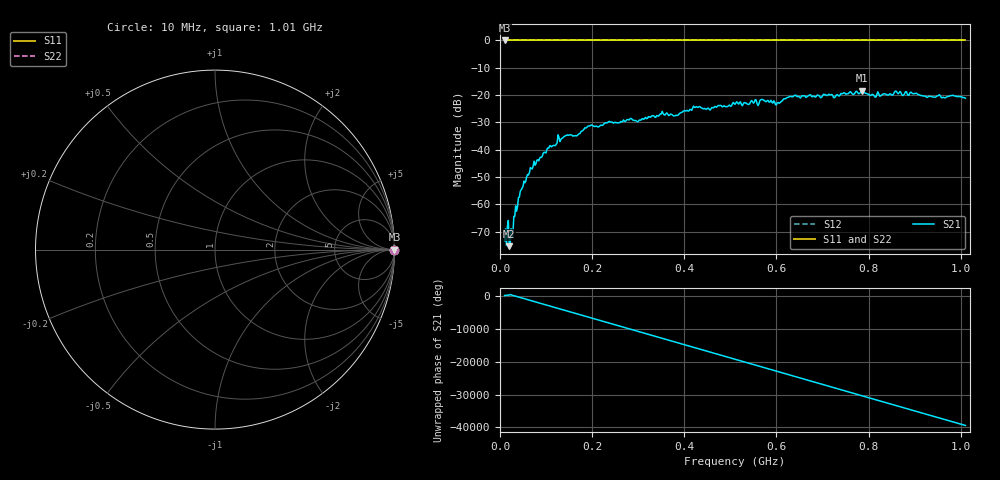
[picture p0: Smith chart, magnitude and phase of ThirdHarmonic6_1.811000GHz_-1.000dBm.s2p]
! 8/16/2025 9:56:25 PM
! C:\ANRITSUVNA\TEMP\TEMP.S2P
! CHANNEL.1
! TR.MEASUREMENT
! RAW.DATA
! RF.CORRECTION.OFF
! AVERAGING.OFF
! IF.BANDWIDTH: 5KHZ
! SWEEPTYPE:  FREQ.SWEEP(Linear)
! Reference Plane Port Info
! PORT:  PORT1  PORT2
! DISTANCE:  0  m  0  m
! TIME:  0  s  0  s
! PHASE.OFFSET:  0  deg.  0  deg.
! LOSS:  0  dB  0  dB
! REF.LOSS:  0  dB  0  dB
! REF.FREQ:  0  Hz  0  Hz
! Power Info
! POWER:  -20  dBm  -20  dBm
! EFF.POWER:  -20  dBm  -20  dBm
! SOURCE.ATTEN:  0  dB  0  dB
! TEST.ATTEN:  0  dB  0  dB
# GHZ S RI R 50.0
! FREQ.GHZ  S11RE  S11IM  S21RE  S21IM  S12RE  S12IM  S22RE  S22IM
!; PortSelection: Port_12
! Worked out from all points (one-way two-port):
!   501 points, 10 MHz to 1.01 GHz, reference 50 ohm
!   highest |S21| = -18.42 dB at 786 MHz (marker M1); lowest = -75.3 dB at 20 MHz (marker M2)
!   lowest |S11| = 0.0 dB at 10 MHz (marker M3)
!   |S11| at or under -10 dB: nowhere
!   |S22| runs from 0.0 to 0.0 dB; largest |S21 - S12| = 1.1
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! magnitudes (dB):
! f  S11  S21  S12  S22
! 10 MHz  0.0  -73.3  0.0  0.0
! 14 MHz  0.0  -75.0  0.0  0.0
! 18 MHz  0.0  -65.9  0.0  0.0
! 20 MHz  0.0  -75.3  0.0  0.0
! 24 MHz  0.0  -68.9  0.0  0.0
! 34 MHz  0.0  -60.5  0.0  0.0
! 44 MHz  0.0  -55.2  0.0  0.0
! 70 MHz  0.0  -47.0  0.0  0.0
! 130 MHz  0.0  -37.0  0.0  0.0
! 178 MHz  0.0  -33.1  0.0  0.0
! 196 MHz  0.0  -31.2  0.0  0.0
! 344 MHz  0.0  -27.7  0.0  0.0
! 382 MHz  0.0  -27.4  0.0  0.0
! 422 MHz  0.0  -24.5  0.0  0.0
! 510 MHz  0.0  -23.4  0.0  0.0
! 570 MHz  0.0  -21.6  0.0  0.0
! 602 MHz  0.0  -22.8  0.0  0.0
! 628 MHz  0.0  -20.5  0.0  0.0
! 678 MHz  0.0  -20.6  0.0  0.0
! 786 MHz  0.0  -18.4  0.0  0.0
! 844 MHz  0.0  -19.9  0.0  0.0
! 1.01 GHz  0.0  -21.1  0.0  0.0
